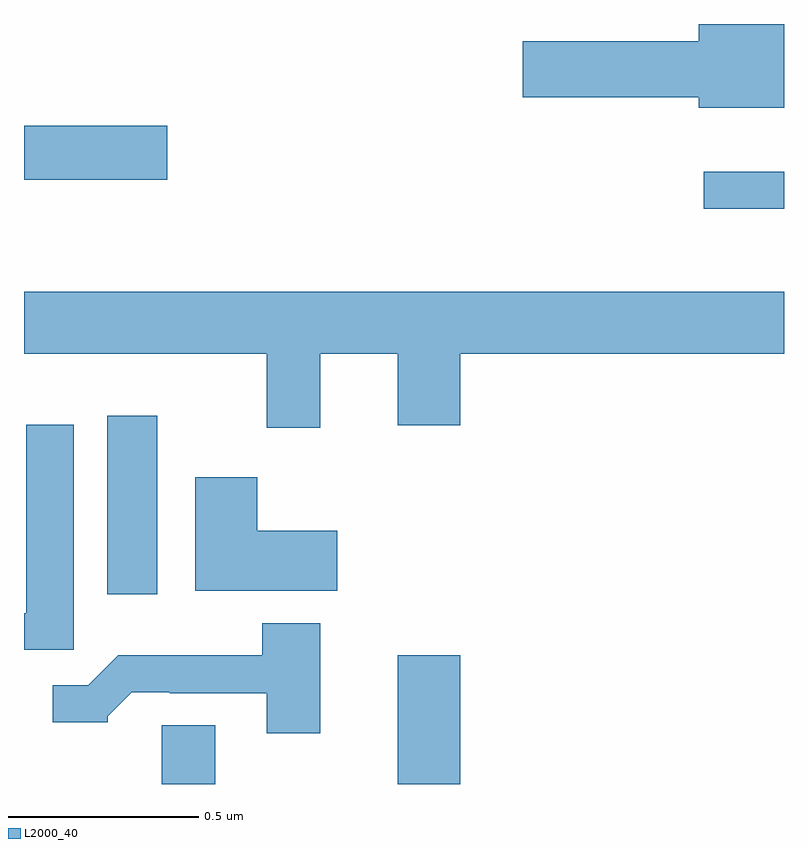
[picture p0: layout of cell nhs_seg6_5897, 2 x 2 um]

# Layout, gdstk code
import gdstk
lib = gdstk.Library(unit=1e-6, precision=1e-09)
def R(c, l, rs):  # rectangles x0, y0, x1, y1
    for r in rs: c.add(gdstk.rectangle(r[:2], r[2:], *l))
def P(c, l, *ps):  # polygons
    for p in ps: c.add(gdstk.Polygon(p, *l))
L2000_40 = (2000, 40)

nhs_seg6_5897 = lib.new_cell('nhs_seg6_5897')
R(nhs_seg6_5897, L2000_40, [(188.363,983.5,188.503,983.654), (188.984,983.5,189.148,983.839), (188.219,984,188.35,984.469), (189.789,985.014,190,985.111), (188,985.09,188.377,985.232)])
P(nhs_seg6_5897, L2000_40, [(190,985.5),(189.776,985.5),(189.776,985.454),(189.312,985.454),(189.312,985.307),(189.776,985.307),(189.776,985.28),(190,985.28)],
  [(188.779,984.632),(188.984,984.632),(188.984,984.444),(189.148,984.444),(189.148,984.632),(190,984.632),(190,984.796),(188,984.796),(188,984.632),(188.639,984.632),(188.639,984.438),(188.779,984.438)],
  [(188.131,984.445),(188.006,984.445),(188.006,983.95),(188,983.95),(188,983.853),(188.131,983.853)],
  [(188.824,984.166),(188.614,984.166),(188.614,984.307),(188.45,984.307),(188.45,984.008),(188.824,984.008)],
  [(188.779,983.923),(188.627,983.923),(188.627,983.839),(188.248,983.839),(188.169,983.76),(188.076,983.76),(188.076,983.663),(188.22,983.663),(188.22,983.678),(188.284,983.742),(188.383,983.742),(188.383,983.739),(188.639,983.739),(188.639,983.634),(188.779,983.634)])

lib.write_gds('nhs_seg6_5897.gds')
